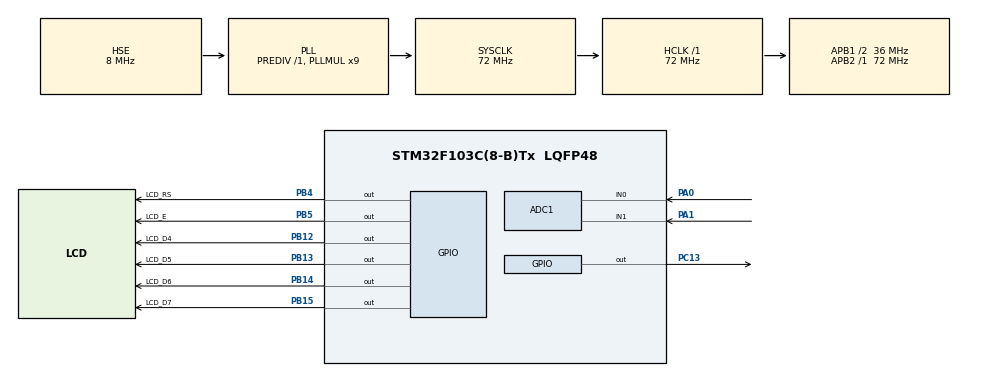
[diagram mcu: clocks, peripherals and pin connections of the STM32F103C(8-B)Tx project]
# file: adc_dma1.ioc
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ADC1.Channel-0\#ChannelRegularConversion=ADC_CHANNEL_0
ADC1.Channel-1\#ChannelRegularConversion=ADC_CHANNEL_1
ADC1.Channel-2\#ChannelRegularConversion=ADC_CHANNEL_TEMPSENSOR
ADC1.NbrOfConversion=3
ADC1.NbrOfConversionFlag=1
ADC1.Rank-0\#ChannelRegularConversion=1
ADC1.Rank-1\#ChannelRegularConversion=2
ADC1.Rank-2\#ChannelRegularConversion=3
ADC1.SamplingTime-0\#ChannelRegularConversion=ADC_SAMPLETIME_71CYCLES_5
ADC1.SamplingTime-1\#ChannelRegularConversion=ADC_SAMPLETIME_71CYCLES_5
ADC1.SamplingTime-2\#ChannelRegularConversion=ADC_SAMPLETIME_71CYCLES_5
ADC1.master=1
Dma.ADC1.0.Direction=DMA_PERIPH_TO_MEMORY
Dma.ADC1.0.Instance=DMA1_Channel1
Dma.ADC1.0.MemDataAlignment=DMA_MDATAALIGN_WORD
Dma.ADC1.0.MemInc=DMA_MINC_ENABLE
Dma.ADC1.0.Mode=DMA_CIRCULAR
Dma.ADC1.0.PeriphDataAlignment=DMA_PDATAALIGN_WORD
Dma.ADC1.0.PeriphInc=DMA_PINC_DISABLE
Dma.ADC1.0.Priority=DMA_PRIORITY_LOW
Dma.Request0=ADC1
Mcu.Family=STM32F1
Mcu.Name=STM32F103C(8-B)Tx
Mcu.Package=LQFP48
NVIC.ADC1_2_IRQn=true\:0\:0\:false\:false\:true\:true
NVIC.DMA1_Channel1_IRQn=true\:0\:0\:false\:false\:true\:false
NVIC.PriorityGroup=NVIC_PRIORITYGROUP_4
PA0-WKUP.Signal=ADCx_IN0
PA1.Signal=ADCx_IN1
PA13.Mode=Serial_Wire
PA13.Signal=SYS_JTMS-SWDIO
PA14.Mode=Serial_Wire
PA14.Signal=SYS_JTCK-SWCLK
PB12.GPIO_Label=LCD_D4
PB12.Signal=GPIO_Output
PB13.GPIO_Label=LCD_D5
PB13.Signal=GPIO_Output
PB14.GPIO_Label=LCD_D6
PB14.Signal=GPIO_Output
PB15.GPIO_Label=LCD_D7
PB15.Signal=GPIO_Output
PB4.GPIO_Label=LCD_RS
PB4.Signal=GPIO_Output
PB5.GPIO_Label=LCD_E
PB5.Signal=GPIO_Output
PC13-TAMPER-RTC.PinState=GPIO_PIN_SET
PC13-TAMPER-RTC.Signal=GPIO_Output
PD0-OSC_IN.Mode=HSE-External-Oscillator
PD0-OSC_IN.Signal=RCC_OSC_IN
PD1-OSC_OUT.Mode=HSE-External-Oscillator
PD1-OSC_OUT.Signal=RCC_OSC_OUT
ProjectManager.HeapSize=0x200
ProjectManager.StackSize=0x400
ProjectManager.TargetToolchain=SW4STM32
RCC.ADCPresc=RCC_ADCPCLK2_DIV6
RCC.AHBFreq_Value=72000000
RCC.APB1CLKDivider=RCC_HCLK_DIV2
RCC.APB1Freq_Value=36000000
RCC.APB1TimFreq_Value=72000000
RCC.APB2Freq_Value=72000000
RCC.APB2TimFreq_Value=72000000
RCC.HCLKFreq_Value=72000000
RCC.PLLMUL=RCC_PLL_MUL9
RCC.PLLSourceVirtual=RCC_PLLSOURCE_HSE
RCC.SYSCLKFreq_VALUE=72000000
RCC.SYSCLKSource=RCC_SYSCLKSOURCE_PLLCLK
RCC.USBFreq_Value=72000000
SH.ADCx_IN0.0=ADC1_IN0,IN0
SH.ADCx_IN1.0=ADC1_IN1,IN1
VP_ADC1_TempSens_Input.Mode=IN-TempSens
board=custom

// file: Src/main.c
/**
  ******************************************************************************
  * @file           : main.c
  * @brief          : Main program body
  ******************************************************************************
  ** This notice applies to any and all portions of this file
  * that are not between comment pairs USER CODE BEGIN and
  * USER CODE END. Other portions of this file, whether
  * inserted by the user or by software development tools
  * are owned by their respective copyright owners.
  *
  * COPYRIGHT(c) 2018 STMicroelectronics
  *
  * Redistribution and use in source and binary forms, with or without modification,
  * are permitted provided that the following conditions are met:
  *   1. Redistributions of source code must retain the above copyright notice,
  *      this list of conditions and the following disclaimer.
  *   2. Redistributions in binary form must reproduce the above copyright notice,
  *      this list of conditions and the following disclaimer in the documentation
  *      and/or other materials provided with the distribution.
  *   3. Neither the name of STMicroelectronics nor the names of its contributors
  *      may be used to endorse or promote products derived from this software
  *      without specific prior written permission.
  *
  * THIS SOFTWARE IS PROVIDED BY THE COPYRIGHT HOLDERS AND CONTRIBUTORS "AS IS"
  * AND ANY EXPRESS OR IMPLIED WARRANTIES, INCLUDING, BUT NOT LIMITED TO, THE
  * IMPLIED WARRANTIES OF MERCHANTABILITY AND FITNESS FOR A PARTICULAR PURPOSE ARE
  * DISCLAIMED. IN NO EVENT SHALL THE COPYRIGHT HOLDER OR CONTRIBUTORS BE LIABLE
  * FOR ANY DIRECT, INDIRECT, INCIDENTAL, SPECIAL, EXEMPLARY, OR CONSEQUENTIAL
  * DAMAGES (INCLUDING, BUT NOT LIMITED TO, PROCUREMENT OF SUBSTITUTE GOODS OR
  * SERVICES; LOSS OF USE, DATA, OR PROFITS; OR BUSINESS INTERRUPTION) HOWEVER
  * CAUSED AND ON ANY THEORY OF LIABILITY, WHETHER IN CONTRACT, STRICT LIABILITY,
  * OR TORT (INCLUDING NEGLIGENCE OR OTHERWISE) ARISING IN ANY WAY OUT OF THE USE
  * OF THIS SOFTWARE, EVEN IF ADVISED OF THE POSSIBILITY OF SUCH DAMAGE.
  *
  ******************************************************************************
  */
#include "main.h"
#include "stm32f1xx_hal.h"

/* USER CODE BEGIN Includes */
#include "hd44780.h"
/* USER CODE END Includes */

ADC_HandleTypeDef hadc1;
DMA_HandleTypeDef hdma_adc1;

/* USER CODE BEGIN PV */
/* Private variables ---------------------------------------------------------*/
uint32_t ADC_BUF[3];

/* USER CODE END PV */

void SystemClock_Config(void);
static void MX_GPIO_Init(void);
static void MX_DMA_Init(void);
static void MX_ADC1_Init(void);

/* USER CODE BEGIN PFP */
/* Private function prototypes -----------------------------------------------*/

/* USER CODE END PFP */

int main(void)
{

  /* MCU Configuration----------------------------------------------------------*/

  /* Reset of all peripherals, Initializes the Flash interface and the Systick. */
  HAL_Init();

  /* Configure the system clock */
  SystemClock_Config();

  /* Initialize all configured peripherals */
  MX_GPIO_Init();
  MX_DMA_Init();
  MX_ADC1_Init();
  /* USER CODE BEGIN 2 */
  HAL_ADC_Start_DMA(&hadc1,(uint32_t*)ADC_BUF,3);
  HAL_ADC_Start_IT(&hadc1);
  HAL_Delay(100);
  lcdInit();

  /* USER CODE END 2 */

  /* Infinite loop */
  /* USER CODE BEGIN WHILE */
  while (1)
  {
	  HAL_ADC_Start_IT(&hadc1);
	  HAL_Delay(100);

      lcdClrScr();

      lcdGoto(LCD_1st_LINE,0);
	  lcdPuts("IN0=");
      lcdItos(ADC_BUF[0]);

      lcdGoto(LCD_2nd_LINE,0);
      lcdPuts("IN1=");
      lcdItos(ADC_BUF[1]);

      HAL_GPIO_WritePin(GPIOC, GPIO_PIN_13, GPIO_PIN_RESET);
	  HAL_Delay(500);
	  HAL_GPIO_WritePin(GPIOC, GPIO_PIN_13, GPIO_PIN_SET);
	  HAL_Delay(500);
  /* USER CODE END WHILE */

  }

}

void SystemClock_Config(void)
{

  RCC_OscInitTypeDef RCC_OscInitStruct;
  RCC_ClkInitTypeDef RCC_ClkInitStruct;
  RCC_PeriphCLKInitTypeDef PeriphClkInit;

    /**Initializes the CPU, AHB and APB busses clocks
    */
  RCC_OscInitStruct.OscillatorType = RCC_OSCILLATORTYPE_HSE;
  RCC_OscInitStruct.HSEState = RCC_HSE_ON;
  RCC_OscInitStruct.HSEPredivValue = RCC_HSE_PREDIV_DIV1;
  RCC_OscInitStruct.HSIState = RCC_HSI_ON;
  RCC_OscInitStruct.PLL.PLLState = RCC_PLL_ON;
  RCC_OscInitStruct.PLL.PLLSource = RCC_PLLSOURCE_HSE;
  RCC_OscInitStruct.PLL.PLLMUL = RCC_PLL_MUL9;
  if (HAL_RCC_OscConfig(&RCC_OscInitStruct) != HAL_OK)
  {
    _Error_Handler(__FILE__, __LINE__);
  }

    /**Initializes the CPU, AHB and APB busses clocks
    */
  RCC_ClkInitStruct.ClockType = RCC_CLOCKTYPE_HCLK|RCC_CLOCKTYPE_SYSCLK
                              |RCC_CLOCKTYPE_PCLK1|RCC_CLOCKTYPE_PCLK2;
  RCC_ClkInitStruct.SYSCLKSource = RCC_SYSCLKSOURCE_PLLCLK;
  RCC_ClkInitStruct.AHBCLKDivider = RCC_SYSCLK_DIV1;
  RCC_ClkInitStruct.APB1CLKDivider = RCC_HCLK_DIV2;
  RCC_ClkInitStruct.APB2CLKDivider = RCC_HCLK_DIV1;

  if (HAL_RCC_ClockConfig(&RCC_ClkInitStruct, FLASH_LATENCY_2) != HAL_OK)
  {
    _Error_Handler(__FILE__, __LINE__);
  }

  PeriphClkInit.PeriphClockSelection = RCC_PERIPHCLK_ADC;
  PeriphClkInit.AdcClockSelection = RCC_ADCPCLK2_DIV6;
  if (HAL_RCCEx_PeriphCLKConfig(&PeriphClkInit) != HAL_OK)
  {
    _Error_Handler(__FILE__, __LINE__);
  }

    /**Configure the Systick interrupt time
    */
  HAL_SYSTICK_Config(HAL_RCC_GetHCLKFreq()/1000);

    /**Configure the Systick
    */
  HAL_SYSTICK_CLKSourceConfig(SYSTICK_CLKSOURCE_HCLK);

  /* SysTick_IRQn interrupt configuration */
  HAL_NVIC_SetPriority(SysTick_IRQn, 0, 0);
}

/* ADC1 init function */
static void MX_ADC1_Init(void)
{

  ADC_ChannelConfTypeDef sConfig;

    /**Common config
    */
  hadc1.Instance = ADC1;
  hadc1.Init.ScanConvMode = ADC_SCAN_ENABLE;
  hadc1.Init.ContinuousConvMode = DISABLE;
  hadc1.Init.DiscontinuousConvMode = DISABLE;
  hadc1.Init.ExternalTrigConv = ADC_SOFTWARE_START;
  hadc1.Init.DataAlign = ADC_DATAALIGN_RIGHT;
  hadc1.Init.NbrOfConversion = 3;
  if (HAL_ADC_Init(&hadc1) != HAL_OK)
  {
    _Error_Handler(__FILE__, __LINE__);
  }

    /**Configure Regular Channel
    */
  sConfig.Channel = ADC_CHANNEL_0;
  sConfig.Rank = ADC_REGULAR_RANK_1;
  sConfig.SamplingTime = ADC_SAMPLETIME_71CYCLES_5;
  if (HAL_ADC_ConfigChannel(&hadc1, &sConfig) != HAL_OK)
  {
    _Error_Handler(__FILE__, __LINE__);
  }

    /**Configure Regular Channel
    */
  sConfig.Channel = ADC_CHANNEL_1;
  sConfig.Rank = ADC_REGULAR_RANK_2;
  if (HAL_ADC_ConfigChannel(&hadc1, &sConfig) != HAL_OK)
  {
    _Error_Handler(__FILE__, __LINE__);
  }

    /**Configure Regular Channel
    */
  sConfig.Channel = ADC_CHANNEL_TEMPSENSOR;
  sConfig.Rank = ADC_REGULAR_RANK_3;
  if (HAL_ADC_ConfigChannel(&hadc1, &sConfig) != HAL_OK)
  {
    _Error_Handler(__FILE__, __LINE__);
  }

}

static void MX_DMA_Init(void)
{
  /* DMA controller clock enable */
  __HAL_RCC_DMA1_CLK_ENABLE();

  /* DMA interrupt init */
  /* DMA1_Channel1_IRQn interrupt configuration */
  HAL_NVIC_SetPriority(DMA1_Channel1_IRQn, 0, 0);
  HAL_NVIC_EnableIRQ(DMA1_Channel1_IRQn);

}

/** Configure pins as
        * Analog
        * Input
        * Output
        * EVENT_OUT
        * EXTI
*/
static void MX_GPIO_Init(void)
{

  GPIO_InitTypeDef GPIO_InitStruct;

  /* GPIO Ports Clock Enable */
  __HAL_RCC_GPIOC_CLK_ENABLE();
  __HAL_RCC_GPIOD_CLK_ENABLE();
  __HAL_RCC_GPIOA_CLK_ENABLE();
  __HAL_RCC_GPIOB_CLK_ENABLE();

  /*Configure GPIO pin Output Level */
  HAL_GPIO_WritePin(GPIOC, GPIO_PIN_13, GPIO_PIN_SET);

  /*Configure GPIO pin Output Level */
  HAL_GPIO_WritePin(GPIOB, LCD_D4_Pin|LCD_D5_Pin|LCD_D6_Pin|LCD_D7_Pin
                          |LCD_RS_Pin|LCD_E_Pin, GPIO_PIN_RESET);

  /*Configure GPIO pin : PC13 */
  GPIO_InitStruct.Pin = GPIO_PIN_13;
  GPIO_InitStruct.Mode = GPIO_MODE_OUTPUT_PP;
  GPIO_InitStruct.Pull = GPIO_NOPULL;
  GPIO_InitStruct.Speed = GPIO_SPEED_FREQ_LOW;
  HAL_GPIO_Init(GPIOC, &GPIO_InitStruct);

  /*Configure GPIO pins : LCD_D4_Pin LCD_D5_Pin LCD_D6_Pin LCD_D7_Pin
                           LCD_RS_Pin LCD_E_Pin */
  GPIO_InitStruct.Pin = LCD_D4_Pin|LCD_D5_Pin|LCD_D6_Pin|LCD_D7_Pin
                          |LCD_RS_Pin|LCD_E_Pin;
  GPIO_InitStruct.Mode = GPIO_MODE_OUTPUT_PP;
  GPIO_InitStruct.Pull = GPIO_NOPULL;
  GPIO_InitStruct.Speed = GPIO_SPEED_FREQ_LOW;
  HAL_GPIO_Init(GPIOB, &GPIO_InitStruct);

}

void _Error_Handler(char *file, int line)
{
  while(1)
  {
  }
}

/************************ (C) COPYRIGHT STMicroelectronics *****END OF FILE****/
